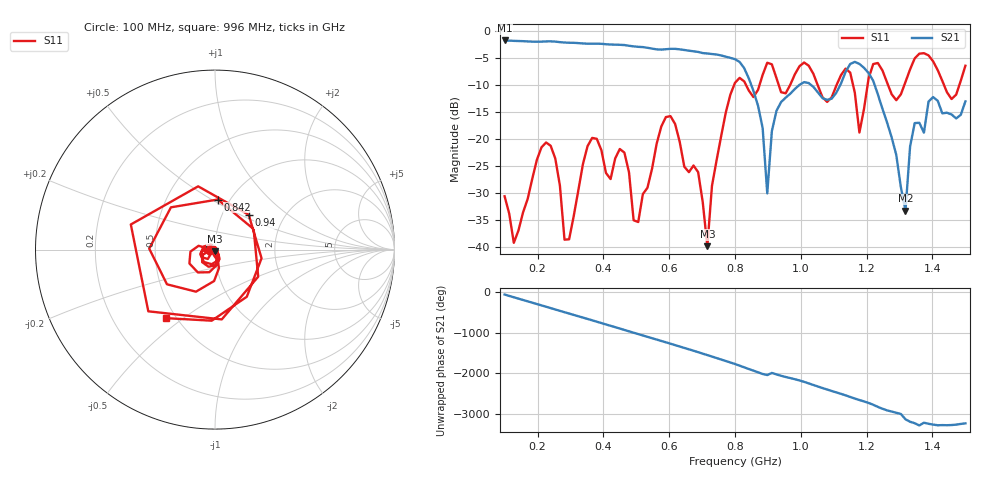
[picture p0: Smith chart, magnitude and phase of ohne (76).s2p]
! NanoVNA-App
! Date: 2025-09-26 09:55:59
! Start: 100MHz Stop: 1,5GHz Points: 101
! S-Parameter data: F S11 S21 S12 S22
# Hz S RI R 50
!  Frequency  S11_Real  S11_Imag  S21_Real  S21_Imag  S12_Real  S12_Imag  S22_Real  S22_Imag
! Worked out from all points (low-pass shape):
!   101 points, 100 MHz to 1.5 GHz, reference 50 ohm
!   highest |S21| = -1.79 dB at 100 MHz (marker M1); lowest = -33.3 dB at 1.318 GHz (marker M2)
!   |S21| within 3 dB of the highest: start of sweep to 771.7 MHz
!   lowest |S11| = -39.9 dB at 716 MHz (marker M3), VSWR 1.02, Z = 49.8 - j0.991 ohm
!   |S11| at or under -10 dB: start of sweep to 797.6 MHz; 833.2 MHz to 874.7 MHz (41.49 MHz wide, 4.86 % of centre); 1.051 GHz to 1.109 GHz (57.99 MHz wide, 5.37 % of centre) (the widest 3 of 7)
!   S12 and S22 are empty: the file has one direction only
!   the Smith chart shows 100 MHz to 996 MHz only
!   S11 on the Smith chart (normalised r, x): 100 MHz: 0.94, -0.01; 842 MHz: 0.88, +0.53; 940 MHz: 1.33, +0.56; 996 MHz: 0.44, -0.43
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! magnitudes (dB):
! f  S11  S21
! 100 MHz  -30.6  -1.8
! 128 MHz  -39.2  -1.9
! 226 MHz  -20.7  -2.0
! 296 MHz  -38.6  -2.2
! 338 MHz  -24.7  -2.3
! 464 MHz  -22.5  -2.6
! 506 MHz  -35.4  -3.0
! 576 MHz  -17.7  -3.5
! 688 MHz  -26.2  -3.9
! 716 MHz  -39.9  -4.2
! 800 MHz  -9.6  -5.3
! 842 MHz  -11.1  -8.8
! 898 MHz  -5.9  -30.1
! 940 MHz  -11.4  -13.2
! 996 MHz  -6.5  -10.0
! 1.038 GHz  -7.9  -10.4
! 1.178 GHz  -18.8  -6.1
! 1.22 GHz  -6.2  -9.3
! 1.276 GHz  -11.7  -19.7
! 1.318 GHz  -9.5  -33.3
! 1.346 GHz  -5.1  -17.1
! 1.5 GHz  -6.5  -13.1
